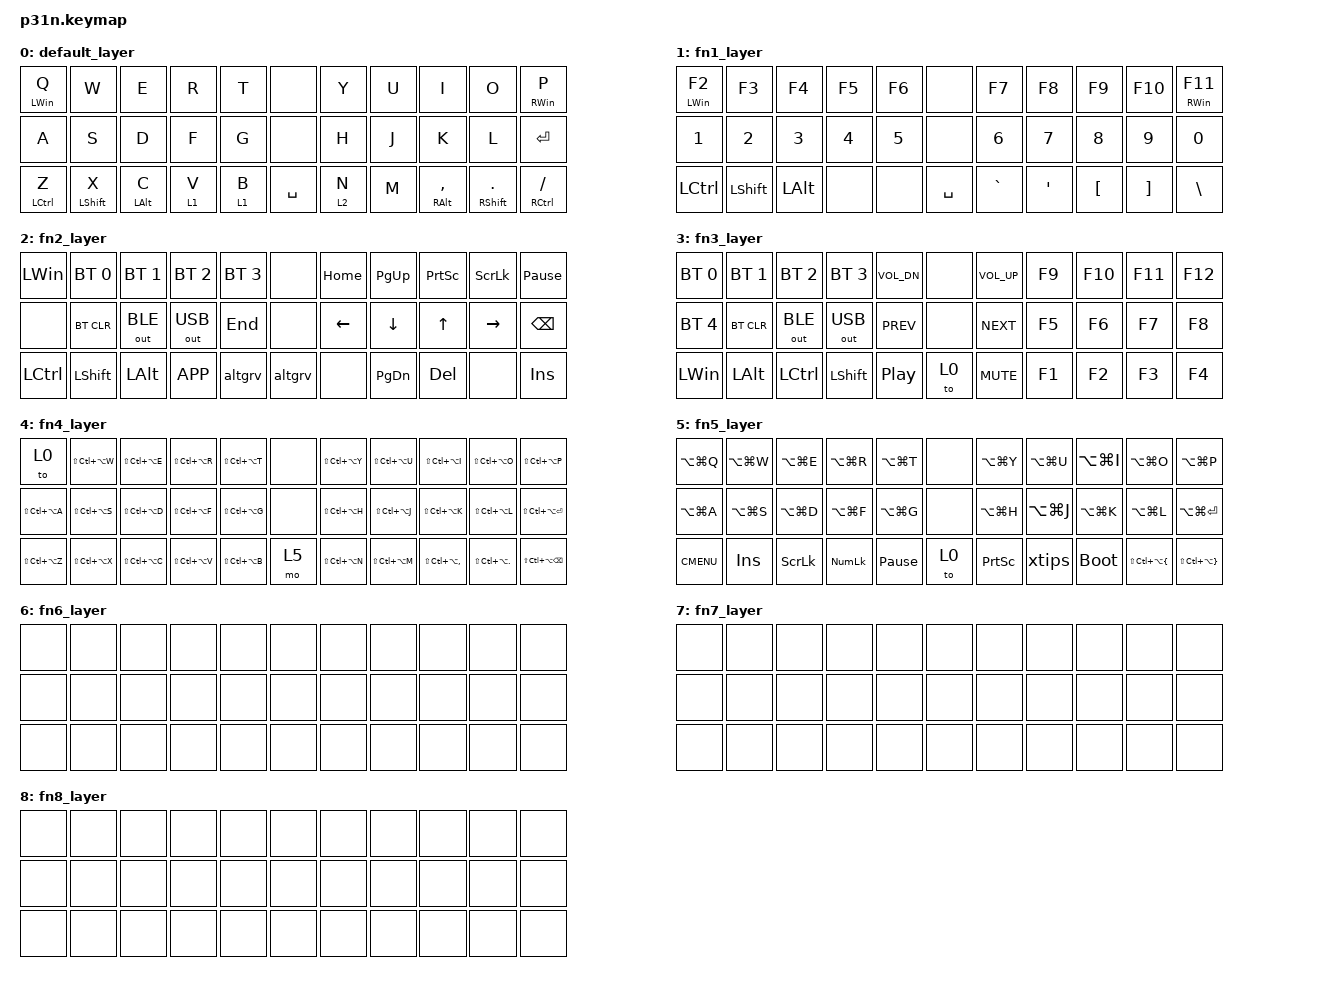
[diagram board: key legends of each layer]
/*
 * Copyright (c) 2020 The ZMK Contributors
 *
 * SPDX-License-Identifier: MIT
 */

#include <behaviors.dtsi>
#include <dt-bindings/zmk/keys.h>
#include <dt-bindings/zmk/rgb.h>
#include <dt-bindings/zmk/bt.h>
#include <dt-bindings/zmk/outputs.h>
#include <dt-bindings/zmk/ext_power.h>
#include <dt-bindings/zmk/mouse.h>

/ {
      macros {
        xtips: xtips {
            compatible = "zmk,behavior-macro";
            label = "XTIPS";
            #binding-cells = <0>;
            bindings = <&kp LS(X) &kp KP_DOT &kp LS(T) &kp I &kp P &kp S>;
            wait-ms = <1>;
            tap-ms = <1>;
        };
        altgrv: altgrv {
            compatible = "zmk,behavior-macro";
            #binding-cells = <0>;
            bindings
                = <&macro_press &kp LALT>
                , <&macro_tap &kp GRAVE>
                , <&macro_release &kp LALT>
                ;
        };
      };

      combos {
          compatible = "zmk,combos";
          c_esc {
              timeout-ms = <50>;
              key-positions = <0 1>;
              layers = <0>;
              bindings = <&kp ESC>;
          };
          c_minus {
              timeout-ms = <50>;
              key-positions = <9 10>;
              bindings = <&kp MINUS>;
          };
          c_tab {
              timeout-ms = <50>;
              key-positions = <12 13>;
              layers = <0>;
              bindings = <&kp TAB>;
          };
          c_semi {
              timeout-ms = <50>;
              key-positions = <20 21>;
              layers = <0>;
              bindings = <&kp SEMI>;
          };
          c_f1 {
              timeout-ms = <50>;
              key-positions = <0 1>;
              layers = <1>;
              bindings = <&kp F1>;
          };
          c_f12 {
              timeout-ms = <50>;
              key-positions = <9 10>;
              layers = <1>;
              bindings = <&kp F12>;
          };
          c_eq {
              timeout-ms = <50>;
              key-positions = <20 21>;
              layers = <1>;
              bindings = <&kp EQUAL>;
          };
      };

	keymap0: keymap {
		compatible = "zmk,keymap";

		default_layer {
            bindings = <
            &mt LWIN Q   &kp W        &kp E         &kp R        &kp T      &none         &kp Y      &kp U         &kp I            &kp O          &mt RWIN P
            &kp A        &kp S        &kp D         &kp F        &kp G      &none         &kp H      &kp J         &kp K            &kp L          &kp ENTER
            &mt LCTRL Z  &mt LSHFT X  &mt LALT C    &lt 1 V      &lt 1 B    &kp SPACE     &lt 2 N    &kp M         &mt RALT COMMA   &mt RSHFT DOT  &mt RCTRL FSLH
            >;
		};

		fn1_layer {
            bindings = <
            &mt LWIN F2  &kp F3       &kp F4       &kp F5       &kp F6     &none          &kp F7    &kp F8        &kp F9           &kp F10        &mt RWIN F11 
            &kp N1       &kp N2       &kp N3       &kp N4       &kp N5     &none          &kp N6    &kp N7        &kp N8           &kp N9         &kp N0   
            &kp LCTRL    &kp LSHFT    &kp LALT     &none        &none      &kp SPACE      &kp GRAVE &kp SQT       &kp LBKT         &kp RBKT       &kp BSLH        
            >;
		};

		fn2_layer {
            bindings = <
            &kp LWIN     &bt BT_SEL 0  &bt BT_SEL 1  &bt BT_SEL 2  &bt BT_SEL 3  &none      &kp HOME  &kp PG_UP     &kp PSCRN       &kp SLCK       &kp PAUSE_BREAK
            &none        &bt BT_CLR    &out OUT_BLE  &out OUT_USB  &kp END       &none      &kp LEFT  &kp DOWN      &kp UP          &kp RIGHT      &kp BSPC
            &kp LCTRL    &kp LSHFT     &kp LALT      &kp K_APP     &altgrv       &altgrv    &none     &kp PG_DN     &kp DEL         &none          &kp INS      
            >;
		};

		fn3_layer {
            bindings = <
            &bt BT_SEL 0   &bt BT_SEL 1   &bt BT_SEL 2   &bt BT_SEL 3   &kp C_VOL_DN   &none   &kp C_VOL_UP   &kp F9   &kp F10   &kp F11   &kp F12   
            &bt BT_SEL 4   &bt BT_CLR     &out OUT_BLE   &out OUT_USB   &kp C_PREV     &none   &kp C_NEXT     &kp F5   &kp F6    &kp F7    &kp F8    
            &kp LWIN       &kp LALT       &kp LCTRL      &kp LSHFT      &kp C_PP       &to 0   &kp C_MUTE     &kp F1   &kp F2    &kp F3    &kp F4        
            >;
		};
		
		fn4_layer {
            bindings = <
            &to 0              &kp LS(LC(LA(W)))  &kp LS(LC(LA(E)))  &kp LS(LC(LA(R)))  &kp LS(LC(LA(T)))   &none   &kp LS(LC(LA(Y)))  &kp LS(LC(LA(U)))  &kp LS(LC(LA(I)))     &kp LS(LC(LA(O)))   &kp LS(LC(LA(P)))       
            &kp LS(LC(LA(A)))  &kp LS(LC(LA(S)))  &kp LS(LC(LA(D)))  &kp LS(LC(LA(F)))  &kp LS(LC(LA(G)))   &none   &kp LS(LC(LA(H)))  &kp LS(LC(LA(J)))  &kp LS(LC(LA(K)))     &kp LS(LC(LA(L)))   &kp LS(LC(LA(ENTER)))   
            &kp LS(LC(LA(Z)))  &kp LS(LC(LA(X)))  &kp LS(LC(LA(C)))  &kp LS(LC(LA(V)))  &kp LS(LC(LA(B)))   &mo 5   &kp LS(LC(LA(N)))  &kp LS(LC(LA(M)))  &kp LS(LC(LA(COMMA))) &kp LS(LC(LA(DOT))) &kp LS(LC(LA(BSPC)))        
            >;
		};

		fn5_layer {
            bindings = <
            &kp LA(LG(Q))  &kp LA(LG(W))  &kp LA(LG(E))  &kp LA(LG(R))  &kp LA(LG(T))   &none   &kp LA(LG(Y))  &kp LA(LG(U))  &kp LA(LG(I))   &kp LA(LG(O))         &kp LA(LG(P))      
            &kp LA(LG(A))  &kp LA(LG(S))  &kp LA(LG(D))  &kp LA(LG(F))  &kp LA(LG(G))   &none   &kp LA(LG(H))  &kp LA(LG(J))  &kp LA(LG(K))   &kp LA(LG(L))         &kp LA(LG(ENTER))  
            &kp K_CMENU    &kp INS        &kp SLCK       &kp KP_NLCK    &kp PAUSE_BREAK &to 0   &kp PSCRN      &xtips         &bootloader     &kp LS(LC(LA(LBRC)))  &kp LS(LC(LA(RBRC)))     
            >;
		};
		
		fn6_layer {
            bindings = <
            &none   &none   &none   &none    &none   &none   &none   &none   &none   &none   &none  
            &none   &none   &none   &none    &none   &none   &none   &none   &none   &none   &none  
            &none   &none   &none   &none    &none   &none   &none   &none   &none   &none   &none      
            >;
		};
		
		fn7_layer {
            bindings = <
            &none   &none   &none   &none    &none   &none   &none   &none   &none   &none   &none  
            &none   &none   &none   &none    &none   &none   &none   &none   &none   &none   &none  
            &none   &none   &none   &none    &none   &none   &none   &none   &none   &none   &none      
            >;
		};
		
		fn8_layer {
            bindings = <
            &none   &none   &none   &none    &none   &none   &none   &none   &none   &none   &none  
            &none   &none   &none   &none    &none   &none   &none   &none   &none   &none   &none  
            &none   &none   &none   &none    &none   &none   &none   &none   &none   &none   &none      
            >;
		};
	};
};

&mt {
    tapping-term-ms = <150>;
    flavor = "balanced";
};

&lt {
    tapping-term-ms = <150>;
    flavor = "balanced";
};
